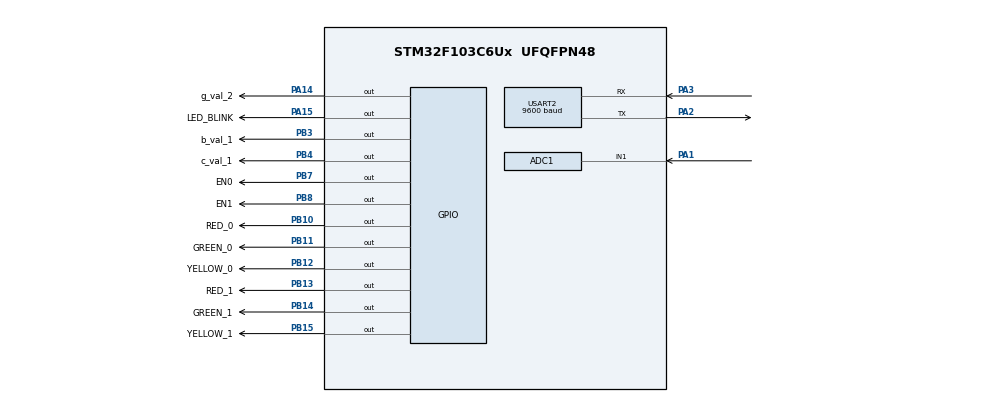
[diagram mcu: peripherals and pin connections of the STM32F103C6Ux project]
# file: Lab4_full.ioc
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ADC1.Channel-2\#ChannelRegularConversion=ADC_CHANNEL_1
ADC1.ContinuousConvMode=ENABLE
ADC1.NbrOfConversionFlag=1
ADC1.Rank-2\#ChannelRegularConversion=1
ADC1.SamplingTime-2\#ChannelRegularConversion=ADC_SAMPLETIME_1CYCLE_5
ADC1.master=1
Mcu.Family=STM32F1
Mcu.Name=STM32F103C6Ux
Mcu.Package=UFQFPN48
NVIC.PriorityGroup=NVIC_PRIORITYGROUP_4
NVIC.TIM2_IRQn=true\:0\:0\:false\:false\:true\:true\:true
PA1.Signal=ADCx_IN1
PA14.GPIO_Label=g_val_2
PA14.Signal=GPIO_Output
PA15.GPIO_Label=LED_BLINK
PA15.Signal=GPIO_Output
PA2.Mode=Asynchronous
PA2.Signal=USART2_TX
PA3.Mode=Asynchronous
PA3.Signal=USART2_RX
PB10.GPIO_Label=RED_0
PB10.Signal=GPIO_Output
PB11.GPIO_Label=GREEN_0
PB11.Signal=GPIO_Output
PB12.GPIO_Label=YELLOW_0
PB12.Signal=GPIO_Output
PB13.GPIO_Label=RED_1
PB13.Signal=GPIO_Output
PB14.GPIO_Label=GREEN_1
PB14.Signal=GPIO_Output
PB15.GPIO_Label=YELLOW_1
PB15.Signal=GPIO_Output
PB3.GPIO_Label=b_val_1
PB3.Signal=GPIO_Output
PB4.GPIO_Label=c_val_1
PB4.Signal=GPIO_Output
PB7.GPIO_Label=EN0
PB7.Signal=GPIO_Output
PB8.GPIO_Label=EN1
PB8.Signal=GPIO_Output
PC14-OSC32_IN.Mode=LSE-External-Oscillator
PC14-OSC32_IN.Signal=RCC_OSC32_IN
PC15-OSC32_OUT.Mode=LSE-External-Oscillator
PC15-OSC32_OUT.Signal=RCC_OSC32_OUT
PD0-OSC_IN.Mode=HSE-External-Clock-Source
PD0-OSC_IN.Signal=RCC_OSC_IN
PD1-OSC_OUT.Mode=HSE-External-Clock-Source
PD1-OSC_OUT.Signal=RCC_OSC_OUT
ProjectManager.HeapSize=0x200
ProjectManager.StackSize=0x400
ProjectManager.TargetToolchain=STM32CubeIDE
RCC.APB1Freq_Value=8000000
RCC.APB2Freq_Value=8000000
SH.ADCx_IN1.0=ADC1_IN1,IN1
TIM2.Period=9
TIM2.Prescaler=7999
USART2.BaudRate=9600
USART2.VirtualMode=VM_ASYNC
VP_SYS_VS_ND.Mode=No_Debug
VP_TIM2_VS_ClockSourceINT.Mode=Internal
board=custom

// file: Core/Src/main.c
/* USER CODE BEGIN Header */
/**
  ******************************************************************************
  * @file           : main.c
  * @brief          : Main program body
  ******************************************************************************
  * @attention
  *
  * <h2><center>&copy; Copyright (c) 2024 STMicroelectronics.
  * All rights reserved.</center></h2>
  *
  * This software component is licensed by ST under BSD 3-Clause license,
  * the "License"; You may not use this file except in compliance with the
  * License. You may obtain a copy of the License at:
  *                        opensource.org/licenses/BSD-3-Clause
  *
  ******************************************************************************
  */
/* USER CODE END Header */
#include "main.h"
#include "normal_run.h"
#include "scheduler.h"

ADC_HandleTypeDef hadc1;

TIM_HandleTypeDef htim2;

UART_HandleTypeDef huart2;

void SystemClock_Config(void);
static void MX_TIM2_Init(void);
static void MX_GPIO_Init(void);
static void MX_ADC1_Init(void);
static void MX_USART2_UART_Init(void);

int main(void)
{

  /* MCU Configuration--------------------------------------------------------*/

  /* Reset of all peripherals, Initializes the Flash interface and the Systick. */
  HAL_Init();

  /* Configure the system clock */
  SystemClock_Config();

  /* Initialize all configured peripherals */
  MX_TIM2_Init();
  MX_GPIO_Init();
  MX_ADC1_Init();
  MX_USART2_UART_Init();
  /* USER CODE BEGIN 2 */
  HAL_TIM_Base_Start_IT(&htim2);
  SCH_Init();
  uint8_t task_index;

  task_index = SCH_Add_Task(dot_blinky, 150, 50);
  HAL_UART_Transmit(&huart2, (uint8_t *)data, sprintf(data, "Task %d is added \r\n",task_index),100);

  task_index = SCH_Add_Task(red_1, 200, 1200);
  HAL_UART_Transmit(&huart2, (uint8_t *)data, sprintf(data, "Task %d is added \r\n",task_index),100);

  task_index = SCH_Add_Task(green_1, 700, 0);
  HAL_UART_Transmit(&huart2, (uint8_t *)data, sprintf(data, "Task %d is added \r\n",task_index),100);

  task_index = SCH_Add_Task(yellow_1, 1000, 1200);
  HAL_UART_Transmit(&huart2, (uint8_t *)data, sprintf(data, "Task %d is added \r\n",task_index),100);

  task_index = SCH_Add_Task(green_2, 200, 1200);
  HAL_UART_Transmit(&huart2, (uint8_t *)data, sprintf(data, "Task %d is added \r\n",task_index),100);

  task_index = SCH_Add_Task(yellow_2, 500, 1200);
  HAL_UART_Transmit(&huart2, (uint8_t *)data, sprintf(data, "Task %d is added \r\n",task_index),100);

  task_index = SCH_Add_Task(red_2, 700, 1200);
  HAL_UART_Transmit(&huart2, (uint8_t *)data, sprintf(data, "Task %d is added \r\n",task_index),100);

  //SCH_Delete_Task(6);
  //SCH_Delete_Task(2);

  /* USER CODE END 2 */

  /* Infinite loop */
  /* USER CODE BEGIN WHILE */
  while (1)
  {
	  SCH_Dispatch_Tasks();
    /* USER CODE END WHILE */

  }
}

void SystemClock_Config(void)
{
  RCC_OscInitTypeDef RCC_OscInitStruct = {0};
  RCC_ClkInitTypeDef RCC_ClkInitStruct = {0};
  RCC_PeriphCLKInitTypeDef PeriphClkInit = {0};

  /** Initializes the RCC Oscillators according to the specified parameters
  * in the RCC_OscInitTypeDef structure.
  */
  RCC_OscInitStruct.OscillatorType = RCC_OSCILLATORTYPE_HSI;
  RCC_OscInitStruct.HSIState = RCC_HSI_ON;
  RCC_OscInitStruct.HSICalibrationValue = RCC_HSICALIBRATION_DEFAULT;
  RCC_OscInitStruct.PLL.PLLState = RCC_PLL_NONE;
  if (HAL_RCC_OscConfig(&RCC_OscInitStruct) != HAL_OK)
  {
    Error_Handler();
  }
  /** Initializes the CPU, AHB and APB buses clocks
  */
  RCC_ClkInitStruct.ClockType = RCC_CLOCKTYPE_HCLK|RCC_CLOCKTYPE_SYSCLK
                              |RCC_CLOCKTYPE_PCLK1|RCC_CLOCKTYPE_PCLK2;
  RCC_ClkInitStruct.SYSCLKSource = RCC_SYSCLKSOURCE_HSI;
  RCC_ClkInitStruct.AHBCLKDivider = RCC_SYSCLK_DIV1;
  RCC_ClkInitStruct.APB1CLKDivider = RCC_HCLK_DIV1;
  RCC_ClkInitStruct.APB2CLKDivider = RCC_HCLK_DIV1;

  if (HAL_RCC_ClockConfig(&RCC_ClkInitStruct, FLASH_LATENCY_0) != HAL_OK)
  {
    Error_Handler();
  }
  PeriphClkInit.PeriphClockSelection = RCC_PERIPHCLK_ADC;
  PeriphClkInit.AdcClockSelection = RCC_ADCPCLK2_DIV2;
  if (HAL_RCCEx_PeriphCLKConfig(&PeriphClkInit) != HAL_OK)
  {
    Error_Handler();
  }
}

static void MX_ADC1_Init(void)
{

  ADC_ChannelConfTypeDef sConfig = {0};

  /** Common config
  */
  hadc1.Instance = ADC1;
  hadc1.Init.ScanConvMode = ADC_SCAN_DISABLE;
  hadc1.Init.ContinuousConvMode = ENABLE;
  hadc1.Init.DiscontinuousConvMode = DISABLE;
  hadc1.Init.ExternalTrigConv = ADC_SOFTWARE_START;
  hadc1.Init.DataAlign = ADC_DATAALIGN_RIGHT;
  hadc1.Init.NbrOfConversion = 1;
  if (HAL_ADC_Init(&hadc1) != HAL_OK)
  {
    Error_Handler();
  }
  /** Configure Regular Channel
  */
  sConfig.Channel = ADC_CHANNEL_1;
  sConfig.Rank = ADC_REGULAR_RANK_1;
  sConfig.SamplingTime = ADC_SAMPLETIME_1CYCLE_5;
  if (HAL_ADC_ConfigChannel(&hadc1, &sConfig) != HAL_OK)
  {
    Error_Handler();
  }

}

static void MX_TIM2_Init(void)
{

  TIM_ClockConfigTypeDef sClockSourceConfig = {0};
  TIM_MasterConfigTypeDef sMasterConfig = {0};

  htim2.Instance = TIM2;
  htim2.Init.Prescaler = 7999;
  htim2.Init.CounterMode = TIM_COUNTERMODE_UP;
  htim2.Init.Period = 9;
  htim2.Init.ClockDivision = TIM_CLOCKDIVISION_DIV1;
  htim2.Init.AutoReloadPreload = TIM_AUTORELOAD_PRELOAD_DISABLE;
  if (HAL_TIM_Base_Init(&htim2) != HAL_OK)
  {
    Error_Handler();
  }
  sClockSourceConfig.ClockSource = TIM_CLOCKSOURCE_INTERNAL;
  if (HAL_TIM_ConfigClockSource(&htim2, &sClockSourceConfig) != HAL_OK)
  {
    Error_Handler();
  }
  sMasterConfig.MasterOutputTrigger = TIM_TRGO_RESET;
  sMasterConfig.MasterSlaveMode = TIM_MASTERSLAVEMODE_DISABLE;
  if (HAL_TIMEx_MasterConfigSynchronization(&htim2, &sMasterConfig) != HAL_OK)
  {
    Error_Handler();
  }

}

static void MX_USART2_UART_Init(void)
{

  huart2.Instance = USART2;
  huart2.Init.BaudRate = 9600;
  huart2.Init.WordLength = UART_WORDLENGTH_8B;
  huart2.Init.StopBits = UART_STOPBITS_1;
  huart2.Init.Parity = UART_PARITY_NONE;
  huart2.Init.Mode = UART_MODE_TX_RX;
  huart2.Init.HwFlowCtl = UART_HWCONTROL_NONE;
  huart2.Init.OverSampling = UART_OVERSAMPLING_16;
  if (HAL_UART_Init(&huart2) != HAL_OK)
  {
    Error_Handler();
  }

}

static void MX_GPIO_Init(void)
{
  GPIO_InitTypeDef GPIO_InitStruct = {0};

  /* GPIO Ports Clock Enable */
  __HAL_RCC_GPIOC_CLK_ENABLE();
  __HAL_RCC_GPIOD_CLK_ENABLE();
  __HAL_RCC_GPIOA_CLK_ENABLE();
  __HAL_RCC_GPIOB_CLK_ENABLE();

  /*Configure GPIO pin Output Level */
  HAL_GPIO_WritePin(GPIOB, RED_0_Pin|GREEN_0_Pin|YELLOW_0_Pin|RED_1_Pin
                          |GREEN_1_Pin|YELLOW_1_Pin|b_val_1_Pin|c_val_1_Pin
                          |EN0_Pin|EN1_Pin, GPIO_PIN_RESET);

  /*Configure GPIO pin Output Level */
  HAL_GPIO_WritePin(GPIOA, g_val_2_Pin|LED_BLINK_Pin, GPIO_PIN_RESET);

  /*Configure GPIO pins : RED_0_Pin GREEN_0_Pin YELLOW_0_Pin RED_1_Pin
                           GREEN_1_Pin YELLOW_1_Pin b_val_1_Pin c_val_1_Pin
                           EN0_Pin EN1_Pin */
  GPIO_InitStruct.Pin = RED_0_Pin|GREEN_0_Pin|YELLOW_0_Pin|RED_1_Pin
                          |GREEN_1_Pin|YELLOW_1_Pin|b_val_1_Pin|c_val_1_Pin
                          |EN0_Pin|EN1_Pin;
  GPIO_InitStruct.Mode = GPIO_MODE_OUTPUT_PP;
  GPIO_InitStruct.Pull = GPIO_NOPULL;
  GPIO_InitStruct.Speed = GPIO_SPEED_FREQ_LOW;
  HAL_GPIO_Init(GPIOB, &GPIO_InitStruct);

  /*Configure GPIO pins : g_val_2_Pin LED_BLINK_Pin */
  GPIO_InitStruct.Pin = g_val_2_Pin|LED_BLINK_Pin;
  GPIO_InitStruct.Mode = GPIO_MODE_OUTPUT_PP;
  GPIO_InitStruct.Pull = GPIO_NOPULL;
  GPIO_InitStruct.Speed = GPIO_SPEED_FREQ_LOW;
  HAL_GPIO_Init(GPIOA, &GPIO_InitStruct);

}

/* USER CODE BEGIN 4 */
void HAL_TIM_PeriodElapsedCallback(TIM_HandleTypeDef * htim)
{
	timestamp++;
	SCH_Update();
	time_count++;
}
/* USER CODE END 4 */

void Error_Handler(void)
{
  __disable_irq();
  while (1)
  {
  }
}

/************************ (C) COPYRIGHT STMicroelectronics *****END OF FILE****/
